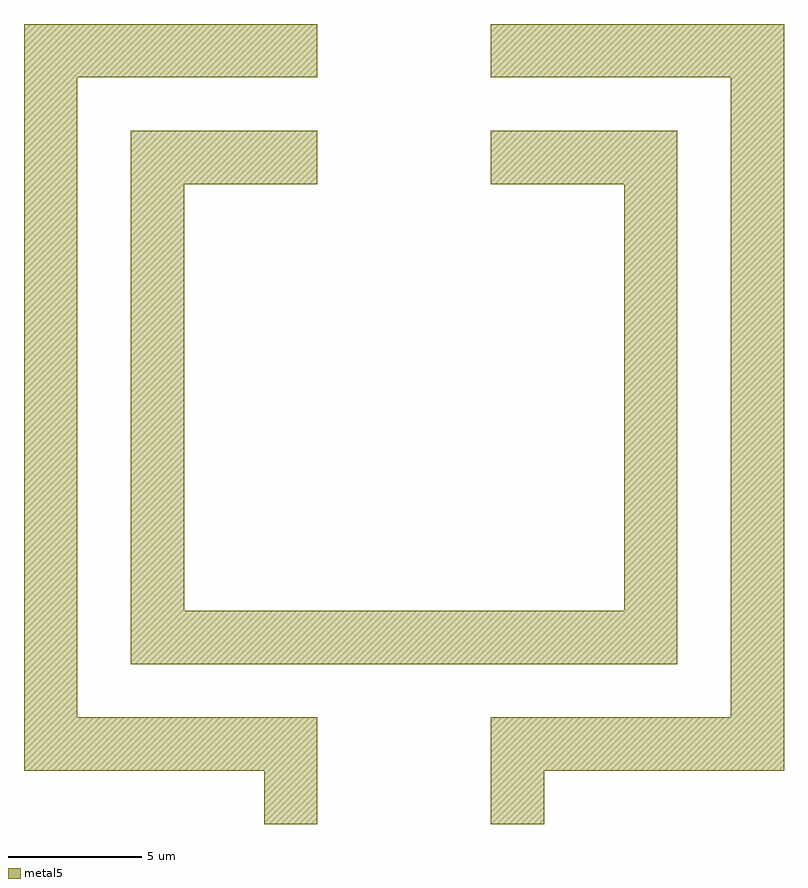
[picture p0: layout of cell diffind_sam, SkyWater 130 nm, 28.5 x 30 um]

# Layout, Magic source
magic
tech sky130A
<< metal5 >>
rect -1750 2100 -650 2300
rect 0 2100 1100 2300
rect -1750 -300 -1550 2100
rect -1350 1700 -650 1900
rect 0 1700 700 1900
rect -1350 100 -1150 1700
rect 500 100 700 1700
rect -1350 -100 700 100
rect 900 -300 1100 2100
rect -1750 -500 -650 -300
rect -850 -700 -650 -500
rect 0 -500 1100 -300
rect 0 -700 200 -500
<< end >>
